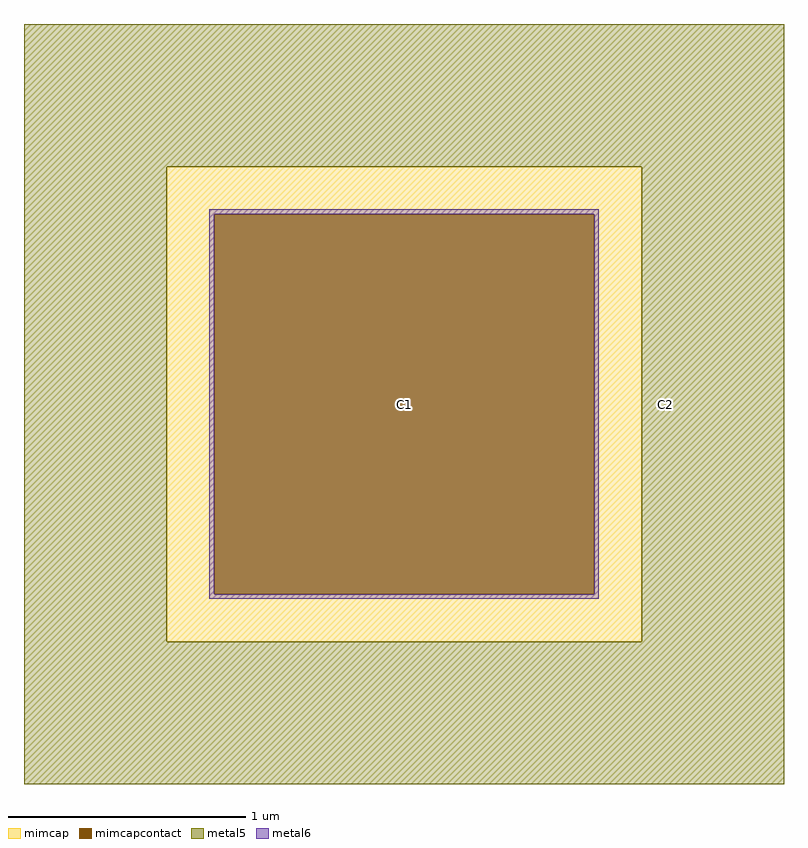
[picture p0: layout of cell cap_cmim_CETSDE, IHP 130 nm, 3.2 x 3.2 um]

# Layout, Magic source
magic
tech ihp-sg13g2
<< metal5 >>
rect -160 100 160 160
rect -160 -100 -100 100
rect 100 -100 160 100
rect -160 -160 160 -100
<< mimcap >>
rect -100 80 100 100
rect -100 -80 -80 80
rect 80 -80 100 80
rect -100 -100 100 -80
<< mimcapcontact >>
rect -80 -80 80 80
<< metal6 >>
rect -82 80 82 82
rect -82 -80 -80 80
rect 80 -80 82 80
rect -82 -82 82 -80
<< labels >>
rlabel mimcapcontact 0 0 0 0 0 C1
port 1 nsew
rlabel metal5 110 0 110 0 0 C2
port 2 nsew
<< properties >>
string FIXED_BBOX -160 -160 160 160
string gencell cap_cmim
string library sg13g2
string parameters w 2.00 l 2.00 val 7.52 carea 1.50 cperi 0.19 class capacitor compatible {cap_cmim cap_rfcmim} nx 1 ny 1 dummy 0 square 0 lmin 2.00 wmin 2.00 lmax 30.0 wmax 30.0 dc 0 tabwidth 1.0 upcontact 0 bconnect 1 tconnect 1 ccov 100 doports 1
<< end >>
